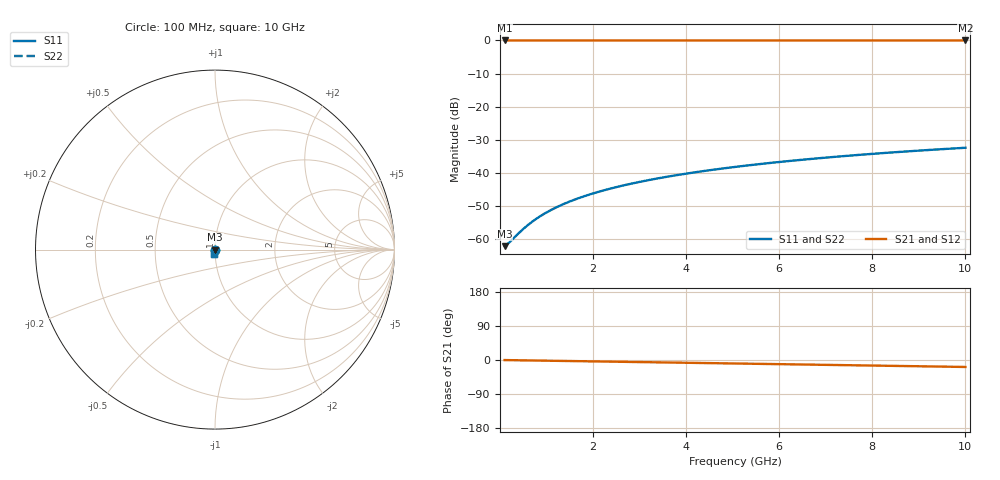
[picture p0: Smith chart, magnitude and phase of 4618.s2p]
# Hz S RI R 50.00
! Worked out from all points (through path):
!   100 points, 100 MHz to 10 GHz, reference 50 ohm
!   highest |S21| = -0.01 dB at 100 MHz (marker M1); lowest = 0.0 dB at 10 GHz (marker M2)
!   group delay of S21, straight-line fit = 5.11 ps
!   lowest |S11| = -62.2 dB at 100 MHz (marker M3), VSWR 1.00, Z = 50.1 - j0.0242 ohm
!   |S11| at or under -10 dB: start of sweep to end of sweep
!   |S22| runs from -62.2 to -32.5 dB; largest |S21 - S12| = 0
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1e8  0.000737 -0.000241  0.9993 -0.00317  0.9993 -0.00317  0.000737 -0.000241
2e8  0.000738 -0.000483  0.9992 -0.00634  0.9992 -0.00634  0.000738 -0.000483
4e8  0.000732 -0.000966  0.9992 -0.0127  0.9992 -0.0127  0.000732 -0.000966
5e8  0.000727 -0.00121  0.9991 -0.0158  0.9991 -0.0158  0.000727 -0.00121
6e8  0.000719 -0.00145  0.9991 -0.019  0.9991 -0.019  0.000719 -0.00145
7e8  0.000709 -0.00169  0.999 -0.0222  0.999 -0.0222  0.000709 -0.00169
9e8  0.000685 -0.00218  0.9988 -0.0285  0.9988 -0.0285  0.000685 -0.00218
1.1e9  0.000655 -0.00266  0.9986 -0.0349  0.9986 -0.0349  0.000655 -0.00266
1.3e9  0.000618 -0.00314  0.9984 -0.0412  0.9984 -0.0412  0.000618 -0.00314
1.5e9  0.000574 -0.00363  0.9981 -0.0476  0.9981 -0.0476  0.000574 -0.00363
1.8e9  0.000497 -0.00436  0.9976 -0.0571  0.9976 -0.0571  0.000497 -0.00436
2.1e9  0.000406 -0.00508  0.997 -0.0666  0.997 -0.0666  0.000406 -0.00508
2.5e9  0.000262 -0.00605  0.996 -0.0793  0.996 -0.0793  0.000262 -0.00605
2.9e9  9.29e-05 -0.00702  0.9949 -0.092  0.9949 -0.092  9.29e-05 -0.00702
3.4e9  -0.000154 -0.00823  0.9933 -0.1078  0.9933 -0.1078  -0.000154 -0.00823
4.2e9  -0.000629 -0.0102  0.9902 -0.1332  0.9902 -0.1332  -0.000629 -0.0102
5.1e9  -0.00128 -0.0123  0.9859 -0.1616  0.9859 -0.1616  -0.00128 -0.0123
5.9e9  -0.00197 -0.0141  0.9813 -0.1869  0.9813 -0.1869  -0.00197 -0.0141
6.7e9  -0.00274 -0.016  0.9762 -0.2121  0.9762 -0.2121  -0.00274 -0.016
7.5e9  -0.00361 -0.0177  0.9703 -0.2372  0.9703 -0.2372  -0.00361 -0.0177
8.4e9  -0.0047 -0.0197  0.9629 -0.2654  0.9629 -0.2654  -0.0047 -0.0197
1e10  -0.00687 -0.0228  0.9477 -0.315  0.9477 -0.315  -0.00687 -0.0228
